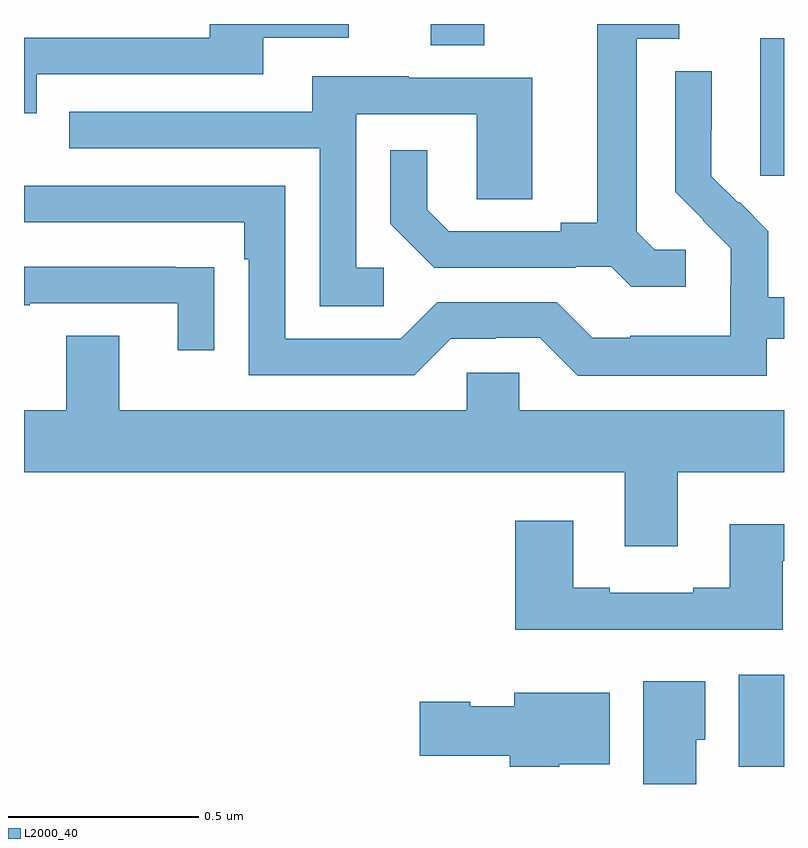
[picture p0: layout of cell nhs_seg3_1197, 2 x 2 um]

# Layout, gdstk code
import gdstk
lib = gdstk.Library(unit=1e-6, precision=1e-09)
def R(c, l, rs):  # rectangles x0, y0, x1, y1
    for r in rs: c.add(gdstk.rectangle(r[:2], r[2:], *l))
def P(c, l, *ps):  # polygons
    for p in ps: c.add(gdstk.Polygon(p, *l))
L2000_40 = (2000, 40)

nhs_seg3_1197 = lib.new_cell('nhs_seg3_1197')
R(nhs_seg3_1197, L2000_40, [(126.881,729.446,127,729.688), (126.938,731.001,127,731.362), (126.071,731.344,126.211,731.4)])
P(nhs_seg3_1197, L2000_40, [(126.742,730.806),(126.66,730.806),(126.613,730.853),(126.613,731.361),(126.724,731.361),(126.724,731.4),(126.509,731.4),(126.509,730.877),(126.413,730.877),(126.413,730.854),(126.118,730.854),(126.061,730.911),(126.061,731.068),(125.964,731.068),(125.964,730.874),(126.08,730.758),(126.452,730.758),(126.452,730.761),(126.546,730.761),(126.598,730.709),(126.742,730.709)],
  [(125.034,731.268),(125.629,731.268),(125.629,731.364),(125.854,731.364),(125.854,731.4),(125.489,731.4),(125.489,731.364),(125,731.364),(125,731.165),(125.034,731.165)],
  [(126.954,730.572),(127,730.572),(127,730.681),(126.959,730.681),(126.959,730.855),(126.882,730.932),(126.879,730.929),(126.809,731),(126.809,731.122),(126.81,731.122),(126.81,731.276),(126.714,731.276),(126.714,730.958),(126.787,730.885),(126.786,730.884),(126.86,730.81),(126.86,730.713),(126.858,730.713),(126.858,730.579),(126.595,730.579),(126.595,730.575),(126.495,730.575),(126.402,730.668),(126.087,730.668),(125.991,730.572),(125.688,730.572),(125.688,730.974),(125,730.974),(125,730.878),(125.579,730.878),(125.579,730.781),(125.592,730.781),(125.592,730.476),(126.027,730.476),(126.123,730.572),(126.242,730.572),(126.242,730.575),(126.357,730.575),(126.457,730.475),(126.954,730.475)],
  [(125.947,730.758),(125.874,730.758),(125.874,731.163),(126.192,731.163),(126.192,730.939),(126.337,730.939),(126.337,731.259),(126.013,731.259),(126.013,731.263),(125.759,731.263),(125.759,731.169),(125.119,731.169),(125.119,731.073),(125.778,731.073),(125.778,730.657),(125.947,730.657)],
  [(125.501,730.76),(125.399,730.76),(125.399,730.761),(125,730.761),(125,730.66),(125.015,730.66),(125.015,730.665),(125.405,730.665),(125.405,730.542),(125.501,730.542)],
  [(126.721,730.22),(127,730.22),(127,730.384),(126.303,730.384),(126.303,730.482),(126.165,730.482),(126.165,730.384),(125.251,730.384),(125.251,730.579),(125.111,730.579),(125.111,730.384),(125,730.384),(125,730.22),(126.581,730.22),(126.581,730.026),(126.721,730.026)],
  [(126.997,729.987),(127,729.987),(127,730.084),(126.857,730.084),(126.857,729.916),(126.761,729.916),(126.761,729.903),(126.541,729.903),(126.541,729.916),(126.445,729.916),(126.445,730.093),(126.293,730.093),(126.293,729.806),(126.997,729.806)],
  [(126.769,729.516),(126.793,729.516),(126.793,729.67),(126.629,729.67),(126.629,729.4),(126.769,729.4)],
  [(126.408,729.452),(126.541,729.452),(126.541,729.64),(126.29,729.64),(126.29,729.604),(126.174,729.604),(126.174,729.617),(126.042,729.617),(126.042,729.475),(126.278,729.475),(126.278,729.446),(126.408,729.446)])

lib.write_gds('nhs_seg3_1197.gds')
